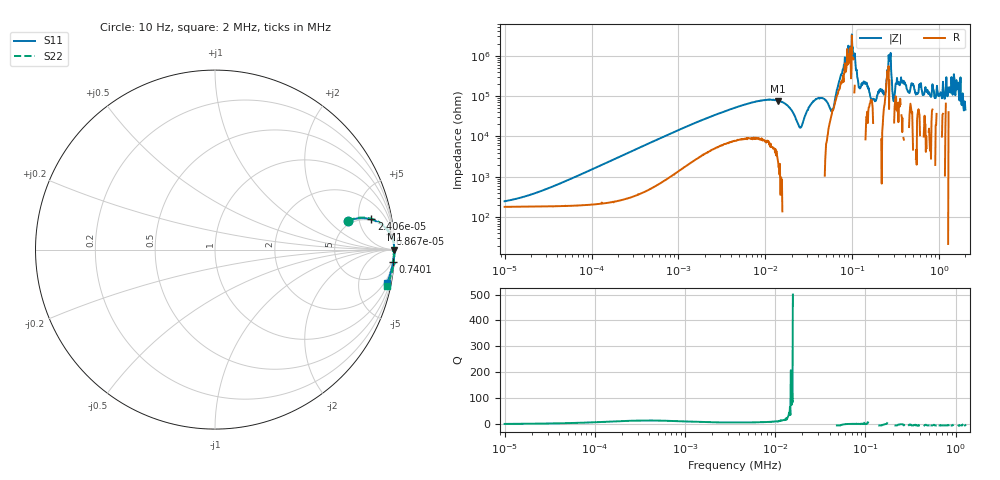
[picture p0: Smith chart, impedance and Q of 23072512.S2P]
!Agilent Technologies,E5061B,MY49204007,A.02.12
!Date: Wed Jul 23 11:17:44 2025
!Data & Calibration Information:
!Freq	S11:SOLT2(ON)	S21:SOLT2(ON)	S12:SOLT2(ON)	S22:SOLT2(ON)
# Hz S dB R 50
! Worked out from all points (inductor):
!   1040 points, 10 Hz to 2 MHz, reference 50 ohm
!   read as one part in series: L = 2.42 H near 36.98 Hz
!   highest Q = 34.2 at 14.06 kHz (marker M1), where L = 863 mH
!   self-resonance near 25.27 kHz
!   S11 on the Smith chart (normalised r, x): 10 Hz: 4.64, +3.42; 24.06 Hz: 4.73, +7.45; 68.67 Hz: 5, +21; 740.1 kHz: 2, -28; 2 MHz: 1, -10
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10  -2.42 12.0  -10.35 -31.4  -10.33 -31.3  -2.40 12.2
24.063  -1.05 11.0  -13.43 -52.6  -13.43 -52.5  -1.03 11.2
68.665  -0.19 5.2  -20.64 -74.1  -20.65 -73.9  -0.18 5.4
77.209  -0.16 4.7  -21.59 -75.6  -21.59 -75.5  -0.14 4.9
588.818  -0.01 0.7  -38.75 -84.9  -38.75 -84.8  0.00 0.8
4498.482  -0.01 0.1  -54.27 -81.2  -54.30 -81.0  0.01 0.2
14055.28  -0.00 -0.1  -57.64 -88.4  -57.76 -88.2  0.01 -0.0
25274.37  -0.02 -0.2  -44.42 -174.6  -44.50 -174.4  -0.15 -0.0
34305.13  -0.01 -0.2  -56.58 107.1  -56.64 107.0  0.00 0.2
45278.81  -0.01 -0.3  -59.06 95.5  -59.19 94.4  0.01 0.0
58252.28  -0.05 -0.4  -52.25 26.0  -52.37 25.8  0.00 -0.1
92131.26  -0.01 -0.5  -83.21 -62.8  -82.06 -38.7  0.01 -0.3
104440.2  -0.01 -0.6  -79.01 -106.8  -79.01 -84.8  0.01 -0.4
121739.2  -0.04 -0.6  -63.81 148.5  -63.80 149.1  0.01 -0.6
175668.9  -0.02 -1.0  -58.62 -92.3  -58.87 -92.8  -0.01 -0.7
232624.4  -0.02 -1.3  -60.77 58.0  -61.53 58.8  0.00 -1.1
261946.5  -0.01 -1.3  -80.34 56.5  -79.13 55.5  -0.00 -1.4
302809.1  -0.02 -1.6  -58.37 72.9  -58.31 77.1  -0.04 -1.5
379744  -0.02 -2.0  -67.69 81.5  -66.71 83.1  -0.00 -1.9
740061.9  -0.05 -4.0  -61.60 87.4  -61.58 89.3  0.01 -4.5
1574823  -0.14 -8.5  -68.11 165.4  -69.82 -178.3  -0.12 -9.2
2000000  -0.21 -11.0  -53.58 -132.1  -53.70 -133.0  -0.18 -11.9
